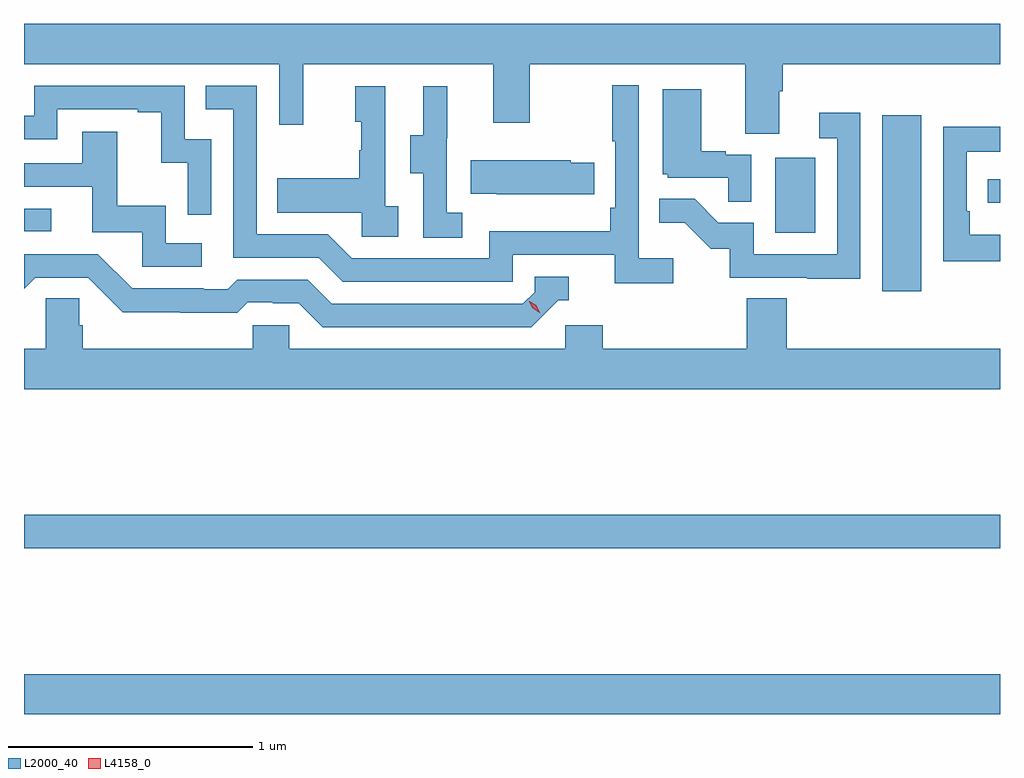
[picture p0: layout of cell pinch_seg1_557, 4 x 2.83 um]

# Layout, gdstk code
import gdstk
lib = gdstk.Library(unit=1e-6, precision=1e-09)
def R(c, l, rs):  # rectangles x0, y0, x1, y1
    for r in rs: c.add(gdstk.rectangle(r[:2], r[2:], *l))
def P(c, l, *ps):  # polygons
    for p in ps: c.add(gdstk.Polygon(p, *l))
L2000_40 = (2000, 40)
L4158_0 = (4158, 0)

pinch_seg1_557 = lib.new_cell('pinch_seg1_557')
R(pinch_seg1_557, L2000_40, [(1017.871,521.096,1021.871,521.26), (1017.871,521.776,1021.871,521.912), (1021.388,522.828,1021.549,523.549), (1020.95,523.068,1021.114,523.375), (1017.871,523.074,1017.982,523.167), (1021.821,523.191,1021.871,523.287)])
P(pinch_seg1_557, L2000_40, [(1020.967,523.648),(1020.98,523.648),(1020.98,523.76),(1021.871,523.76),(1021.871,523.924),(1017.871,523.924),(1017.871,523.76),(1018.917,523.76),(1018.917,523.512),(1019.015,523.512),(1019.015,523.76),(1019.795,523.76),(1019.795,523.52),(1019.943,523.52),(1019.943,523.76),(1020.827,523.76),(1020.827,523.474),(1020.967,523.474)],
  [(1020.532,522.964),(1020.39,522.964),(1020.39,523.672),(1020.282,523.672),(1020.282,523.444),(1020.294,523.444),(1020.294,523.171),(1020.274,523.171),(1020.274,523.075),(1019.778,523.075),(1019.778,522.963),(1019.214,522.963),(1019.115,523.062),(1018.824,523.062),(1018.824,523.671),(1018.615,523.671),(1018.615,523.575),(1018.728,523.575),(1018.728,522.966),(1019.078,522.966),(1019.177,522.867),(1019.874,522.867),(1019.874,522.978),(1020.293,522.978),(1020.293,522.862),(1020.532,522.862)],
  [(1018.638,523.452),(1018.53,523.452),(1018.53,523.671),(1017.912,523.671),(1017.912,523.548),(1017.871,523.548),(1017.871,523.452),(1018.008,523.452),(1018.008,523.575),(1018.337,523.575),(1018.337,523.563),(1018.433,523.563),(1018.433,523.355),(1018.542,523.355),(1018.542,523.143),(1018.638,523.143)],
  [(1019.404,523.178),(1019.352,523.178),(1019.352,523.669),(1019.228,523.669),(1019.228,523.524),(1019.254,523.524),(1019.254,523.406),(1019.244,523.406),(1019.244,523.291),(1018.909,523.291),(1018.909,523.151),(1019.256,523.151),(1019.256,523.053),(1019.404,523.053)],
  [(1019.668,523.151),(1019.604,523.151),(1019.604,523.455),(1019.606,523.455),(1019.606,523.669),(1019.507,523.669),(1019.507,523.467),(1019.453,523.467),(1019.453,523.312),(1019.508,523.312),(1019.508,523.048),(1019.668,523.048)],
  [(1020.852,523.389),(1020.746,523.389),(1020.746,523.402),(1020.646,523.402),(1020.646,523.657),(1020.488,523.657),(1020.488,523.308),(1020.51,523.308),(1020.51,523.293),(1020.757,523.293),(1020.757,523.195),(1020.852,523.195)],
  [(1021.299,523.561),(1021.131,523.561),(1021.131,523.455),(1021.203,523.455),(1021.203,522.981),(1020.861,522.981),(1020.861,523.11),(1020.717,523.11),(1020.619,523.208),(1020.475,523.208),(1020.475,523.109),(1020.579,523.109),(1020.686,523.002),(1020.763,523.002),(1020.763,522.885),(1021.081,522.885),(1021.081,522.88),(1021.299,522.88)],
  [(1021.871,523.06),(1021.748,523.06),(1021.748,523.156),(1021.734,523.156),(1021.734,523.401),(1021.871,523.401),(1021.871,523.502),(1021.638,523.502),(1021.638,522.951),(1021.871,522.951)],
  [(1018.6,523.026),(1018.452,523.026),(1018.452,523.18),(1018.253,523.18),(1018.253,523.483),(1018.109,523.483),(1018.109,523.353),(1017.871,523.353),(1017.871,523.257),(1018.151,523.257),(1018.151,523.071),(1018.356,523.071),(1018.356,522.93),(1018.6,522.93)],
  [(1020.209,523.356),(1020.111,523.356),(1020.111,523.366),(1019.701,523.366),(1019.701,523.229),(1019.809,523.229),(1019.809,523.226),(1020.209,523.226)],
  [(1020.06,522.792),(1020.103,522.792),(1020.103,522.888),(1019.964,522.888),(1019.964,522.825),(1019.916,522.777),(1019.133,522.777),(1019.034,522.876),(1018.745,522.876),(1018.706,522.837),(1018.607,522.837),(1018.607,522.84),(1018.314,522.84),(1018.173,522.981),(1017.871,522.981),(1017.871,522.838),(1017.918,522.885),(1018.134,522.885),(1018.276,522.743),(1018.512,522.743),(1018.512,522.741),(1018.745,522.741),(1018.787,522.783),(1018.89,522.783),(1018.89,522.78),(1018.997,522.78),(1019.096,522.681),(1019.949,522.681)],
  [(1021.871,522.592),(1020.998,522.592),(1020.998,522.8),(1020.833,522.8),(1020.833,522.592),(1020.242,522.592),(1020.242,522.69),(1020.09,522.69),(1020.09,522.592),(1018.959,522.592),(1018.959,522.69),(1018.809,522.69),(1018.809,522.592),(1018.112,522.592),(1018.112,522.69),(1018.097,522.69),(1018.097,522.8),(1017.96,522.8),(1017.96,522.592),(1017.871,522.592),(1017.871,522.428),(1021.871,522.428)])
P(pinch_seg1_557, L4158_0, [(1019.987,522.738),(1019.956,522.758),(1019.939,522.79),(1019.939,522.79),(1019.939,522.79),(1019.97,522.771),(1019.987,522.738),(1019.987,522.738)])

lib.write_gds('pinch_seg1_557.gds')
